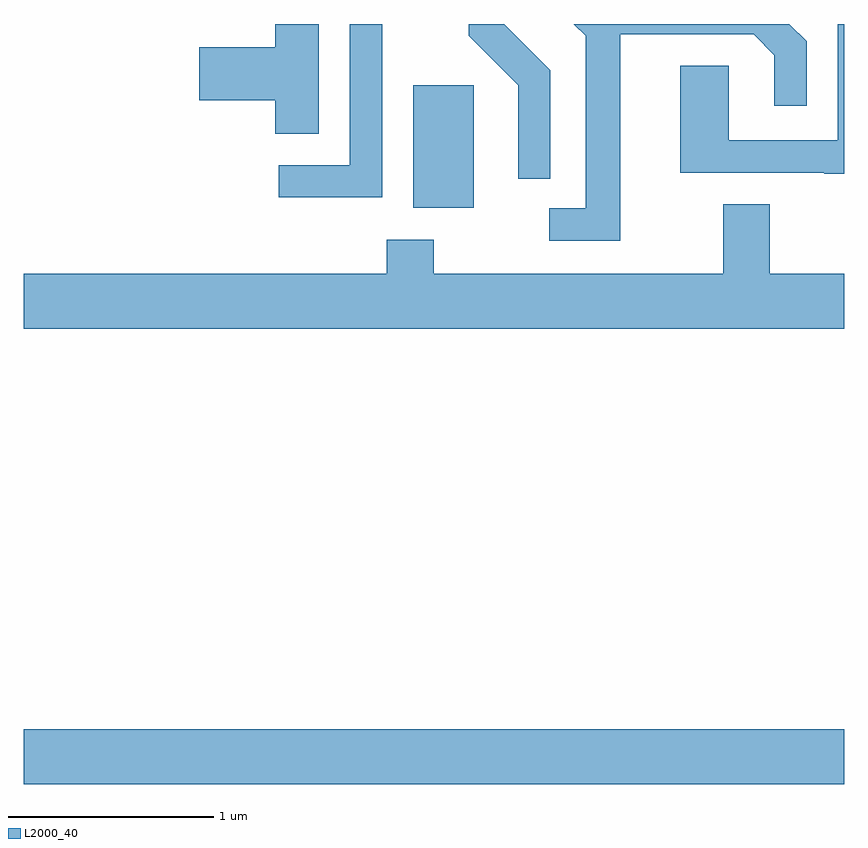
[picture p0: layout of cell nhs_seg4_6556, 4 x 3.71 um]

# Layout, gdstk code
import gdstk
lib = gdstk.Library(unit=1e-6, precision=1e-09)
def R(c, l, rs):  # rectangles x0, y0, x1, y1
    for r in rs: c.add(gdstk.rectangle(r[:2], r[2:], *l))
def P(c, l, *ps):  # polygons
    for p in ps: c.add(gdstk.Polygon(p, *l))
L2000_40 = (2000, 40)

nhs_seg4_6556 = lib.new_cell('nhs_seg4_6556')
R(nhs_seg4_6556, L2000_40, [(377.611,1310.276,381.611,1310.544), (379.511,1313.086,379.804,1313.684)])
P(nhs_seg4_6556, L2000_40, [(379.359,1313.982),(379.201,1313.982),(379.201,1313.294),(378.853,1313.294),(378.853,1313.136),(379.359,1313.136)],
  [(380.179,1313.757),(379.954,1313.982),(379.781,1313.982),(379.781,1313.924),(380.021,1313.684),(380.021,1313.228),(380.179,1313.228)],
  [(380.519,1313.931),(381.169,1313.931),(381.271,1313.829),(381.271,1313.583),(381.429,1313.583),(381.429,1313.897),(381.344,1313.982),(380.293,1313.982),(380.351,1313.924),(380.351,1313.084),(380.173,1313.084),(380.173,1312.926),(380.519,1312.926)],
  [(381.611,1313.982),(381.581,1313.982),(381.581,1313.414),(381.049,1313.414),(381.049,1313.779),(380.811,1313.779),(380.811,1313.256),(381.515,1313.256),(381.515,1313.251),(381.611,1313.251)],
  [(379.049,1313.982),(378.836,1313.982),(378.836,1313.869),(378.466,1313.869),(378.466,1313.611),(378.836,1313.611),(378.836,1313.446),(379.049,1313.446)],
  [(381.611,1312.764),(381.249,1312.764),(381.249,1313.104),(381.021,1313.104),(381.021,1312.764),(379.609,1312.764),(379.609,1312.929),(379.381,1312.929),(379.381,1312.764),(377.611,1312.764),(377.611,1312.496),(381.611,1312.496)])

lib.write_gds('nhs_seg4_6556.gds')
